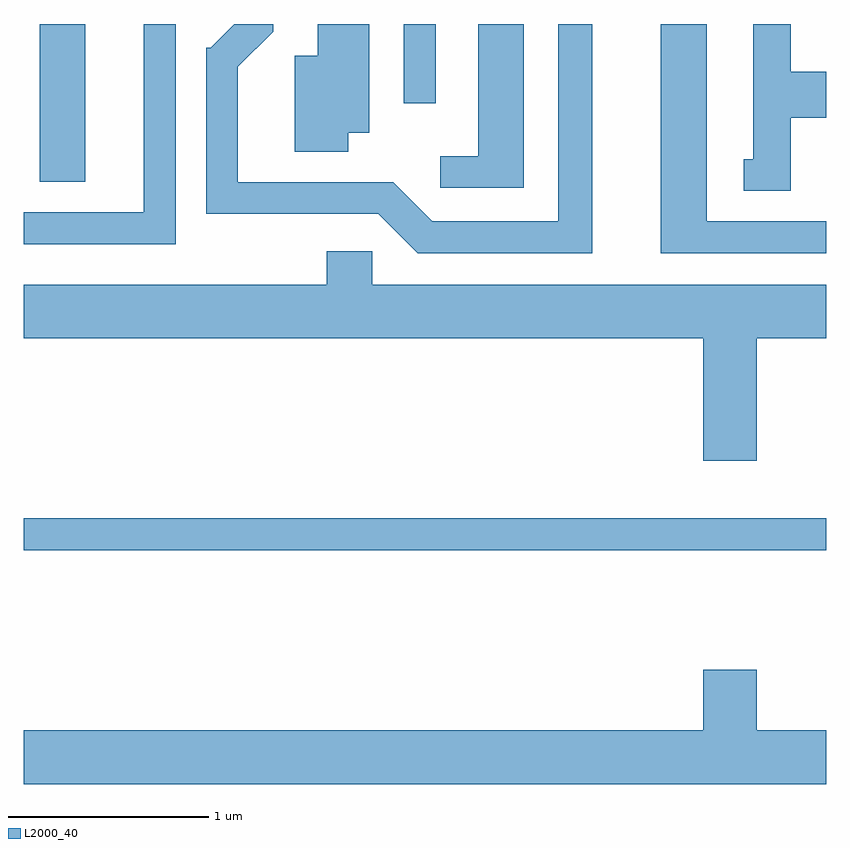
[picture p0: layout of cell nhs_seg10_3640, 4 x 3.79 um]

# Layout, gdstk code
import gdstk
lib = gdstk.Library(unit=1e-6, precision=1e-09)
def R(c, l, rs):  # rectangles x0, y0, x1, y1
    for r in rs: c.add(gdstk.rectangle(r[:2], r[2:], *l))
def P(c, l, *ps):  # polygons
    for p in ps: c.add(gdstk.Polygon(p, *l))
L2000_40 = (2000, 40)

nhs_seg10_3640 = lib.new_cell('nhs_seg10_3640')
R(nhs_seg10_3640, L2000_40, [(291.611,2183.901,295.611,2184.059), (291.691,2185.736,291.919,2186.522), (293.506,2186.128,293.664,2186.522)])
P(nhs_seg10_3640, L2000_40, [(295.611,2185.539),(295.014,2185.539),(295.014,2186.522),(294.786,2186.522),(294.786,2185.381),(295.611,2185.381)],
  [(293.229,2185.981),(293.334,2185.981),(293.334,2186.522),(293.076,2186.522),(293.076,2186.364),(292.961,2186.364),(292.961,2185.886),(293.229,2185.886)],
  [(292.369,2186.522),(292.211,2186.522),(292.211,2185.584),(291.611,2185.584),(291.611,2185.426),(292.369,2185.426)],
  [(294.444,2186.522),(294.276,2186.522),(294.276,2185.539),(293.647,2185.539),(293.452,2185.734),(292.679,2185.734),(292.679,2186.309),(292.854,2186.484),(292.854,2186.522),(292.661,2186.522),(292.544,2186.404),(292.521,2186.404),(292.521,2185.576),(293.379,2185.576),(293.574,2185.381),(294.444,2185.381)],
  [(295.434,2186.056),(295.611,2186.056),(295.611,2186.284),(295.434,2186.284),(295.434,2186.522),(295.246,2186.522),(295.246,2185.849),(295.198,2185.849),(295.198,2185.691),(295.434,2185.691)],
  [(294.104,2186.522),(293.876,2186.522),(293.876,2185.864),(293.688,2185.864),(293.688,2185.706),(294.104,2185.706)],
  [(295.264,2184.956),(295.611,2184.956),(295.611,2185.224),(293.349,2185.224),(293.349,2185.389),(293.121,2185.389),(293.121,2185.224),(291.611,2185.224),(291.611,2184.956),(294.996,2184.956),(294.996,2184.346),(295.264,2184.346)],
  [(295.611,2183.004),(295.264,2183.004),(295.264,2183.304),(294.996,2183.304),(294.996,2183.004),(291.611,2183.004),(291.611,2182.736),(295.611,2182.736)])

lib.write_gds('nhs_seg10_3640.gds')
